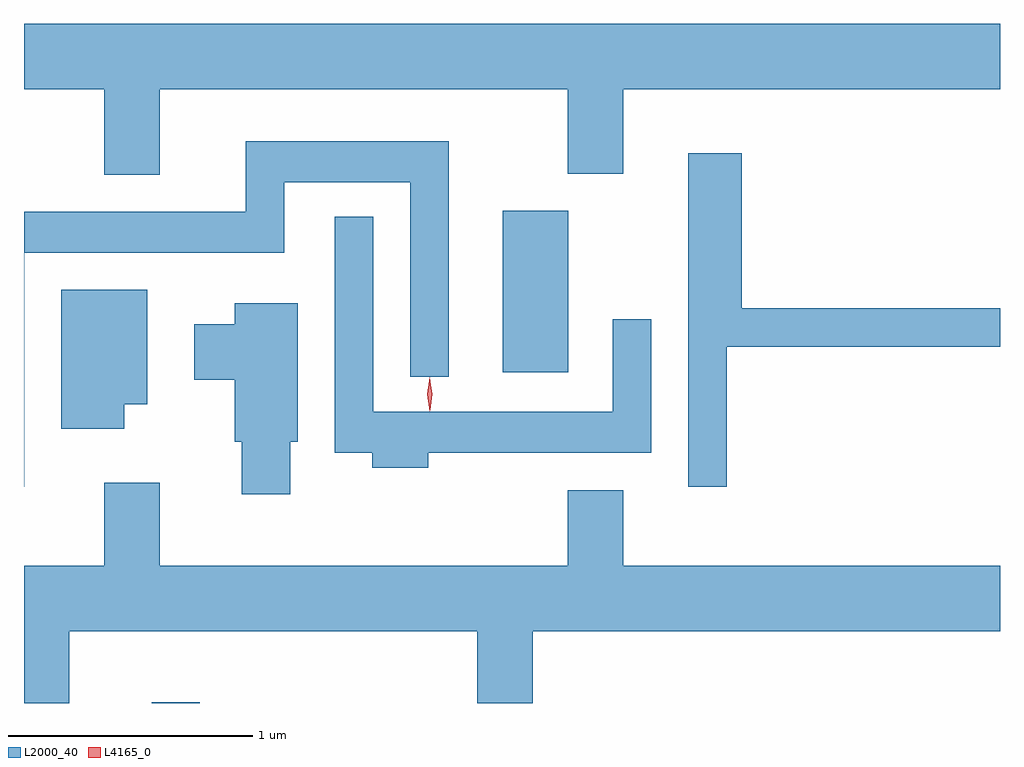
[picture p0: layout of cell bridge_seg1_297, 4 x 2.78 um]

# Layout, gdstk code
import gdstk
lib = gdstk.Library(unit=1e-6, precision=1e-09)
def R(c, l, rs):  # rectangles x0, y0, x1, y1
    for r in rs: c.add(gdstk.rectangle(r[:2], r[2:], *l))
def P(c, l, *ps):  # polygons
    for p in ps: c.add(gdstk.Polygon(p, *l))
L2000_40 = (2000, 40)
L4165_0 = (4165, 0)

bridge_seg1_297 = lib.new_cell('bridge_seg1_297')
R(bridge_seg1_297, L2000_40, [(890.546,881.521,890.744,881.524), (891.986,882.876,892.254,883.539)])
P(bridge_seg1_297, L2000_40, [(890.579,884.036),(892.251,884.036),(892.251,883.691),(892.479,883.691),(892.479,884.036),(894.023,884.036),(894.023,884.304),(890.023,884.304),(890.023,884.036),(890.351,884.036),(890.351,883.686),(890.579,883.686)],
  [(890.024,883.366),(891.089,883.366),(891.089,883.656),(891.606,883.656),(891.606,882.858),(891.764,882.858),(891.764,883.824),(890.931,883.824),(890.931,883.534),(890.023,883.534),(890.023,882.408),(890.024,882.408)],
  [(892.904,882.981),(894.023,882.981),(894.023,883.139),(892.964,883.139),(892.964,883.774),(892.746,883.774),(892.746,882.408),(892.904,882.408)],
  [(891.679,882.546),(892.594,882.546),(892.594,883.093),(892.436,883.093),(892.436,882.714),(891.454,882.714),(891.454,883.513),(891.296,883.513),(891.296,882.546),(891.451,882.546),(891.451,882.486),(891.679,882.486)],
  [(890.434,882.746),(890.529,882.746),(890.529,883.214),(890.176,883.214),(890.176,882.646),(890.434,882.646)],
  [(891.114,882.591),(891.144,882.591),(891.144,883.159),(890.886,883.159),(890.886,883.074),(890.721,883.074),(890.721,882.846),(890.886,882.846),(890.886,882.591),(890.916,882.591),(890.916,882.376),(891.114,882.376)],
  [(890.209,881.816),(891.881,881.816),(891.881,881.521),(892.109,881.521),(892.109,881.816),(894.023,881.816),(894.023,882.084),(892.479,882.084),(892.479,882.394),(892.251,882.394),(892.251,882.084),(890.579,882.084),(890.579,882.424),(890.351,882.424),(890.351,882.084),(890.023,882.084),(890.023,881.521),(890.209,881.521)])
P(bridge_seg1_297, L4165_0, [(891.686,882.719),(891.686,882.72),(891.676,882.786),(891.686,882.852),(891.686,882.853),(891.686,882.852),(891.696,882.786),(891.687,882.72)],
  [(891.685,882.717),(891.676,882.787),(891.685,882.856),(891.686,882.856),(891.686,882.856),(891.695,882.787),(891.686,882.717),(891.686,882.717)])

lib.write_gds('bridge_seg1_297.gds')
